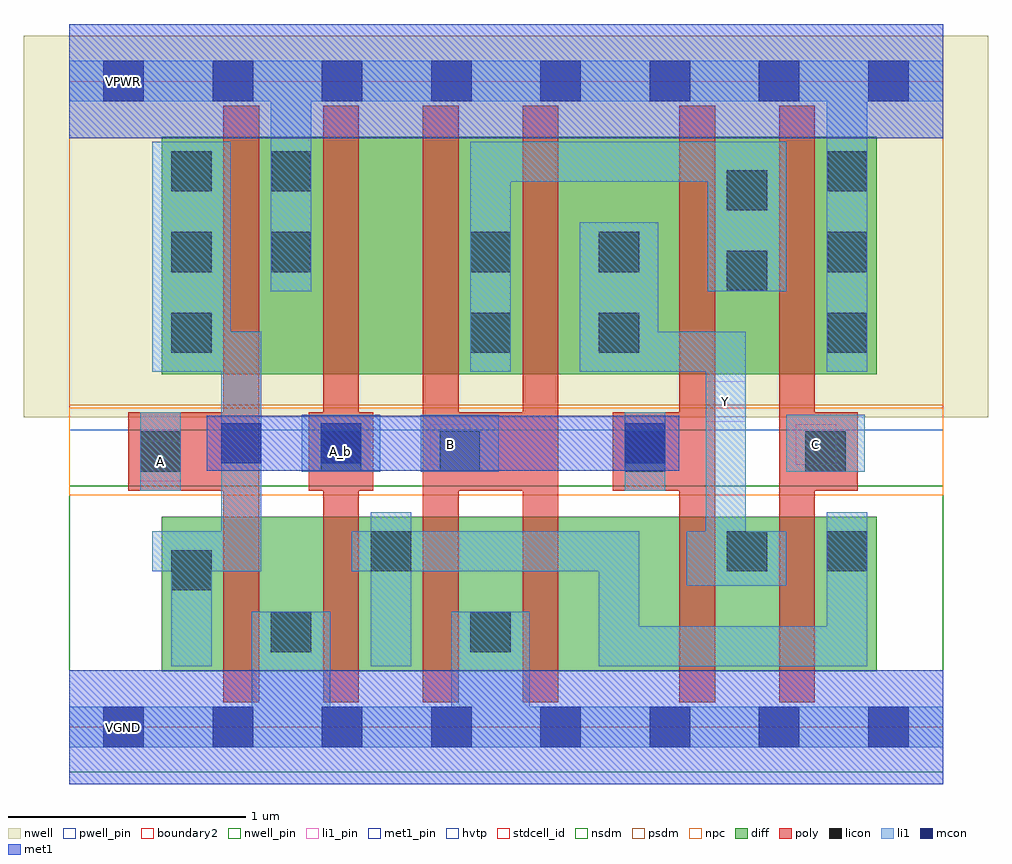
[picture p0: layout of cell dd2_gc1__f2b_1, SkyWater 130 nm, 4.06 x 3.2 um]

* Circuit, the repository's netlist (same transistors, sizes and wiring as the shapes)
.subckt dd2_gc1__f2b_1 A B C VGND VNB VPB VPWR Y
X0 A_b A VGND VNB sky130_fd_pr__nfet_01v8 w=0.65 l=0.15
X1 A_b A VPWR VPB sky130_fd_pr__pfet_01v8_hvt w=1 l=0.15
X2 Y A_b n1 VNB sky130_fd_pr__nfet_01v8 w=0.65 l=0.15
X3 n1 B VGND VNB sky130_fd_pr__nfet_01v8 w=0.65 l=0.15
X4 Y C n2 VNB sky130_fd_pr__nfet_01v8 w=0.65 l=0.15
X5 n2 A_b VGND VNB sky130_fd_pr__nfet_01v8 w=0.65 l=0.15
X6 n2 B VGND VNB sky130_fd_pr__nfet_01v8 w=0.65 l=0.15
X7 Y A_b p1 VPB sky130_fd_pr__pfet_01v8_hvt w=1 l=0.15
X8 Y B p1 VPB sky130_fd_pr__pfet_01v8_hvt w=1 l=0.15
X9 p1 C VPWR VPB sky130_fd_pr__pfet_01v8_hvt w=1 l=0.15
X10 p1 B p2 VPB sky130_fd_pr__pfet_01v8_hvt w=1 l=0.15
X11 p2 A_b VPWR VPB sky130_fd_pr__pfet_01v8_hvt w=1 l=0.15
.ends

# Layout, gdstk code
import gdstk
lib = gdstk.Library(unit=1e-6, precision=1e-09)
def R(c, l, rs):  # rectangles x0, y0, x1, y1
    for r in rs: c.add(gdstk.rectangle(r[:2], r[2:], *l))
def A(c, l, x, y, w, h, nx, ny, dx, dy):  # array of equal rectangles
    R(c, l, [(x+i*dx, y+j*dy, x+i*dx+w, y+j*dy+h) for i in range(nx) for j in range(ny)])
nwell_pin = (64, 16)
nwell = (64, 20)
diff = (65, 20)
poly = (66, 20)
licon = (66, 44)
li1_pin = (67, 16)
li1 = (67, 20)
mcon = (67, 44)
met1_pin = (68, 16)
met1 = (68, 20)
hvtp = (78, 44)
stdcell_id = (81, 4)
nsdm = (93, 44)
psdm = (94, 20)
npc = (95, 20)
pwell_pin = (122, 16)
boundary2 = (236, 0)

dd2_gc1__f2b_1 = lib.new_cell('dd2_gc1__f2b_1')
R(dd2_gc1__f2b_1, nwell_pin, [(0.145,2.635,0.315,2.805)])
R(dd2_gc1__f2b_1, nwell, [(-0.19,1.305,3.87,2.91)])
R(dd2_gc1__f2b_1, diff, [(0.39,0.235,3.4,0.885), (0.39,1.485,3.4,2.485)])
A(dd2_gc1__f2b_1, poly, 0.65, 0.105, 0.15, 2.51, 4, 1, 0.42, 0)
R(dd2_gc1__f2b_1, poly, [(2.57,0.105,2.72,2.615), (2.99,0.105,3.14,2.615), (0.25,0.995,0.8,1.325), (1.01,0.995,1.28,1.325), (1.49,0.995,2.06,1.325), (2.29,0.995,2.72,1.325), (2.99,0.995,3.32,1.325)])
A(dd2_gc1__f2b_1, licon, 0.43, 1.575, 0.17, 0.17, 1, 3, 0, 0.34)
A(dd2_gc1__f2b_1, licon, 3.19, 1.575, 0.17, 0.17, 1, 3, 0, 0.34)
R(dd2_gc1__f2b_1, licon, [(0.85,0.315,1.02,0.485), (1.69,0.315,1.86,0.485), (0.43,0.575,0.6,0.745), (1.27,0.655,1.44,0.825), (2.77,0.655,2.94,0.825), (3.19,0.655,3.36,0.825), (0.3,1.075,0.47,1.245), (1.06,1.075,1.23,1.245), (1.56,1.075,1.73,1.245), (2.34,1.075,2.51,1.245), (3.1,1.075,3.27,1.245), (1.69,1.575,1.86,1.745), (2.23,1.575,2.4,1.745), (2.77,1.835,2.94,2.005), (0.85,1.915,1.02,2.085), (1.69,1.915,1.86,2.085), (2.23,1.915,2.4,2.085), (2.77,2.175,2.94,2.345), (0.85,2.255,1.02,2.425)])
R(dd2_gc1__f2b_1, li1_pin, [(0.3,1.035,0.47,1.205), (1.52,1.105,1.69,1.275), (3.06,1.105,3.23,1.275), (2.68,1.285,2.85,1.455)])
R(dd2_gc1__f2b_1, li1, [(0,-0.085,3.68,0.085), (0.77,-0.085,1.1,0.485), (1.61,-0.085,1.94,0.485), (0.43,0.255,0.6,0.825), (1.27,0.255,1.44,0.905), (2.23,0.255,2.4,0.825), (2.23,0.255,3.36,0.425), (3.19,0.255,3.36,0.905), (2.6,0.595,3.02,0.825), (0.35,0.655,0.81,0.825), (1.19,0.655,2.4,0.825), (0.64,0.815,0.81,1.505), (2.68,0.815,2.85,1.505), (0.3,0.995,0.47,1.325), (2.34,0.995,2.51,1.325), (0.98,1.075,1.31,1.315), (1.48,1.075,1.81,1.315), (3.02,1.075,3.35,1.315), (0.35,1.495,0.81,1.665), (0.35,1.495,0.68,2.465), (1.69,1.495,1.86,2.465), (2.15,1.495,2.48,2.125), (2.23,1.495,2.85,1.665), (3.19,1.495,3.36,2.805), (0.85,1.835,1.02,2.805), (2.69,1.835,3.02,2.465), (1.69,2.295,2.94,2.465), (0,2.635,3.68,2.805)])
A(dd2_gc1__f2b_1, mcon, 0.145, -0.085, 0.17, 0.17, 8, 2, 0.46, 2.72)
R(dd2_gc1__f2b_1, mcon, [(0.64,1.11,0.81,1.28), (1.06,1.11,1.23,1.28), (2.34,1.11,2.51,1.28)])
R(dd2_gc1__f2b_1, met1_pin, [(0.145,-0.085,0.315,0.085), (0.145,2.635,0.315,2.805)])
R(dd2_gc1__f2b_1, met1, [(0,-0.24,3.68,0.24), (0.58,1.08,2.57,1.31), (0,2.48,3.68,2.96)])
R(dd2_gc1__f2b_1, hvtp, [(0,1.25,3.68,2.72)])
R(dd2_gc1__f2b_1, stdcell_id, [(0,0,3.68,2.72)])
R(dd2_gc1__f2b_1, nsdm, [(0,-0.19,3.68,1.015)])
R(dd2_gc1__f2b_1, psdm, [(0,1.355,3.68,2.91)])
R(dd2_gc1__f2b_1, npc, [(0,0.975,3.68,1.345)])
R(dd2_gc1__f2b_1, pwell_pin, [(0.145,-0.085,0.315,0.085)])
R(dd2_gc1__f2b_1, boundary2, [(0,0,3.68,2.72)])
dd2_gc1__f2b_1.add(gdstk.Label('A_b', (1.145,1.16), layer=67, texttype=5))
dd2_gc1__f2b_1.add(gdstk.Label('A', (0.385,1.12), layer=67, texttype=5))
dd2_gc1__f2b_1.add(gdstk.Label('B', (1.605,1.19), layer=67, texttype=5))
dd2_gc1__f2b_1.add(gdstk.Label('C', (3.145,1.19), layer=67, texttype=5))
dd2_gc1__f2b_1.add(gdstk.Label('Y', (2.765,1.37), layer=67, texttype=5))
dd2_gc1__f2b_1.add(gdstk.Label('VGND', (0.23,0), layer=68, texttype=5))
dd2_gc1__f2b_1.add(gdstk.Label('VPWR', (0.23,2.72), layer=68, texttype=5))
dd2_gc1__f2b_1.add(gdstk.Label('VPB', (0.23,2.72), layer=64, texttype=5))
dd2_gc1__f2b_1.add(gdstk.Label('VNB', (0.23,0), layer=64, texttype=59))

lib.write_gds('dd2_gc1__f2b_1.gds')
